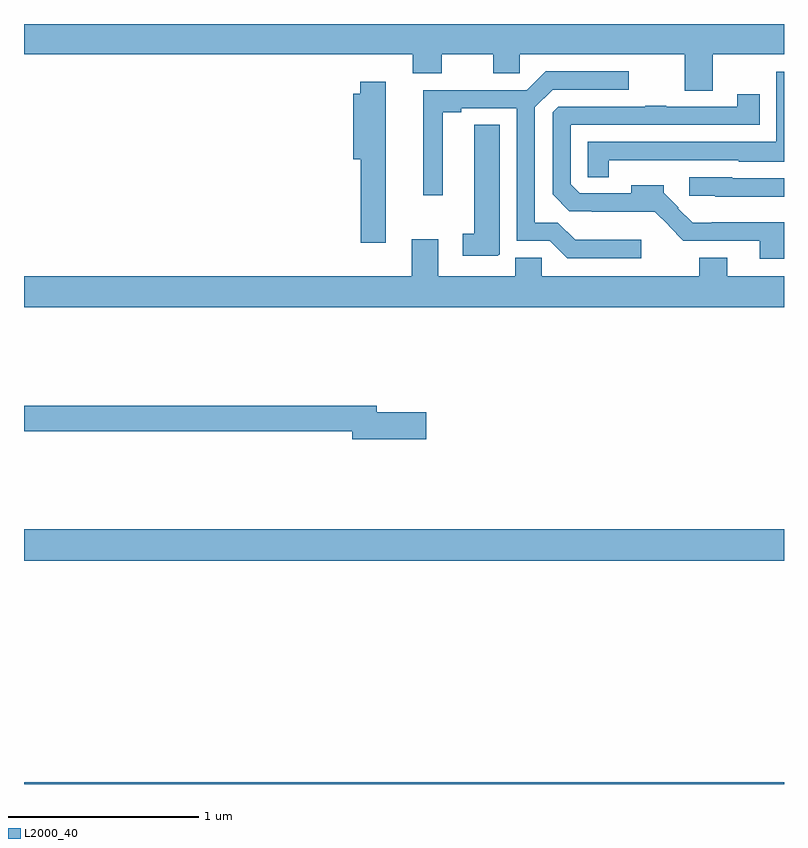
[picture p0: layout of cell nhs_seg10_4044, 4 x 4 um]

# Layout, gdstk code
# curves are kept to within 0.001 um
import gdstk
lib = gdstk.Library(unit=1e-6, precision=1e-09)
def R(c, l, rs):  # rectangles x0, y0, x1, y1
    for r in rs: c.add(gdstk.rectangle(r[:2], r[2:], *l))
def P(c, l, *ps):  # polygons
    for p in ps: c.add(gdstk.Polygon(p, *l))
L2000_40 = (2000, 40)

nhs_seg10_4044 = lib.new_cell('nhs_seg10_4044')
R(nhs_seg10_4044, L2000_40, [(335,1272.5,339,1272.508), (335,1273.676,339,1273.84)])
P(nhs_seg10_4044, L2000_40, [(338.625,1276.34),(339,1276.34),(339,1276.5),(335,1276.5),(335,1276.34),(337.046,1276.34),(337.046,1276.241),(337.198,1276.241),(337.198,1276.34),(337.469,1276.34),(337.469,1276.242),(337.608,1276.242),(337.608,1276.34),(338.477,1276.34),(338.477,1276.15),(338.625,1276.15)],
  [(338.248,1275.364),(337.901,1275.364),(337.81,1275.455),(337.689,1275.455),(337.689,1276.062),(337.782,1276.155),(338.182,1276.155),(338.182,1276.251),(337.745,1276.251),(337.646,1276.152),(337.1,1276.152),(337.1,1275.6),(337.204,1275.6),(337.204,1276.036),(337.3,1276.036),(337.3,1276.056),(337.593,1276.056),(337.593,1275.36),(337.767,1275.36),(337.86,1275.267),(338.248,1275.267)],
  [(338.077,1275.782),(338.331,1275.782),(338.331,1275.783),(338.763,1275.783),(338.763,1275.776),(339,1275.776),(339,1276.248),(338.958,1276.248),(338.958,1275.879),(337.968,1275.879),(337.968,1275.694),(338.077,1275.694)],
  [(336.904,1276.195),(336.77,1276.195),(336.77,1276.132),(336.734,1276.132),(336.734,1275.788),(336.773,1275.788),(336.773,1275.348),(336.904,1275.348)],
  [(339,1275.457),(338.62,1275.457),(338.62,1275.455),(338.519,1275.455),(338.442,1275.531),(338.445,1275.534),(338.366,1275.613),(338.366,1275.652),(338.195,1275.652),(338.195,1275.609),(337.926,1275.609),(337.878,1275.657),(337.878,1275.969),(338.873,1275.969),(338.873,1276.129),(338.755,1276.129),(338.755,1276.065),(338.381,1276.065),(338.381,1276.07),(338.269,1276.07),(338.269,1276.065),(337.812,1276.065),(337.782,1276.035),(337.782,1275.603),(337.871,1275.514),(337.987,1275.514),(337.987,1275.512),(338.321,1275.513),(338.395,1275.439),(338.393,1275.437),(338.469,1275.36),(338.873,1275.36),(338.873,1275.264),(339,1275.264)],
  [(337.504,1275.289),(337.504,1275.971),(337.37,1275.971),(337.37,1275.395),(337.308,1275.395),(337.308,1275.279),(337.494,1275.279)],
  [(339,1275.687),(338.727,1275.687),(338.727,1275.693),(338.502,1275.693),(338.502,1275.597),(338.637,1275.597),(338.637,1275.59),(339,1275.59)],
  [(339,1275.172),(338.701,1275.172),(338.701,1275.271),(338.554,1275.271),(338.554,1275.172),(337.725,1275.172),(337.725,1275.27),(337.586,1275.27),(337.586,1275.172),(337.18,1275.172),(337.18,1275.367),(337.04,1275.367),(337.04,1275.172),(335,1275.172),(335,1275.008),(339,1275.008)],
  [(337.117,1274.456),(336.856,1274.456),(336.856,1274.492),(335,1274.492),(335,1274.356),(336.728,1274.356),(336.728,1274.314),(337.117,1274.314)])

lib.write_gds('nhs_seg10_4044.gds')
